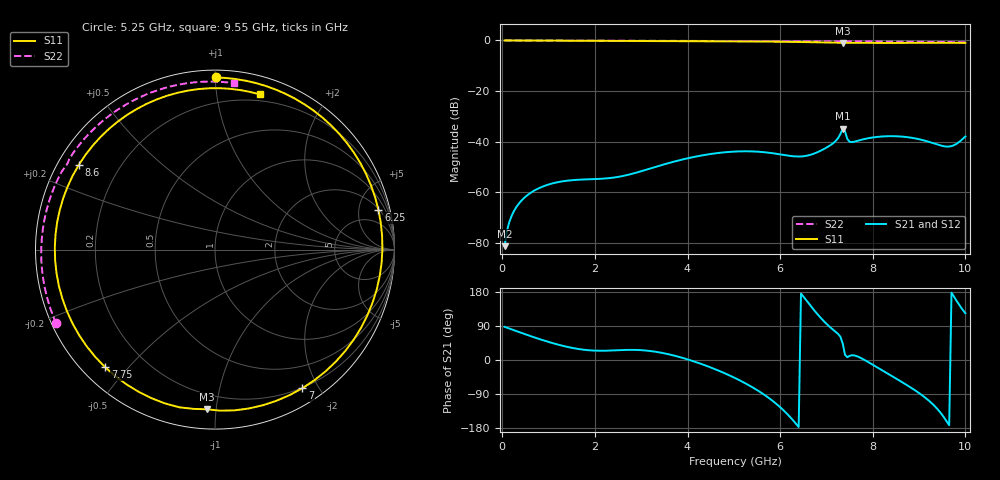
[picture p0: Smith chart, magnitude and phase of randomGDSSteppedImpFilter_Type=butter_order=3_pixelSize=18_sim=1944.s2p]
! freq	dB(S11)	phase(S11)	dB(S12)	phase(S12)
!  dB(S21)	phase(S21)	dB(S22)	phase(S22)
!S-par simulation data
#  GHz  S  DB  R 50
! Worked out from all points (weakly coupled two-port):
!   200 points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, 50 MHz to 10 GHz, reference 50 ohm
!   highest |S21| = -34.94 dB at 7.35 GHz (marker M1); lowest = -81.4 dB at 50 MHz (marker M2)
!   lowest |S11| = -1.0 dB at 7.35 GHz (marker M3), VSWR 17.30, Z = 5.48 - j47.1 ohm
!   |S11| at or under -10 dB: nowhere
!   |S22| runs from -0.7 to 0.0 dB; largest |S21 - S12| = 0
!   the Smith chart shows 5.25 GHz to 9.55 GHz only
!   S11 on the Smith chart (normalised r, x): 5.25 GHz: 0.04, +1.00; 6.25 GHz: 2.13, +7.76; 7 GHz: 0.19, -1.80; 7.75 GHz: 0.06, -0.43; 8.6 GHz: 0.06, +0.28; 9.55 GHz: 0.14, +1.32
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0.05  -0.01 -2.9  -81.38 87.5  -81.38 87.5  -0.00 -1.8
0.25  -0.02 -14.1  -67.55 78.6  -67.55 78.6  -0.01 -8.6
0.55  -0.03 -30.9  -61.09 65.6  -61.09 65.6  -0.02 -18.9
1.15  -0.08 -63.3  -56.25 42.4  -56.25 42.4  -0.05 -39.0
1.75  -0.11 -94.0  -55.00 27.2  -55.00 27.2  -0.07 -58.4
2.65  -0.16 -136.9  -53.44 26.5  -53.44 26.5  -0.10 -85.7
3.4  -0.19 -171.7  -49.52 19.9  -49.52 19.9  -0.13 -107.0
4.2  -0.25 149.6  -45.86 -6.3  -45.86 -6.3  -0.16 -128.3
5.05  -0.34 102.4  -43.93 -49.0  -43.93 -49.0  -0.21 -150.1
5.25  -0.36 89.7  -43.84 -61.6  -43.84 -61.6  -0.22 -155.1
5.75  -0.45 54.6  -44.40 -99.7  -44.40 -99.7  -0.25 -167.7
6.25  -0.56 13.7  -45.75 -155.2  -45.75 -155.2  -0.28 179.7
6.7  -0.70 -28.0  -44.97 136.4  -44.97 136.4  -0.32 168.1
7  -0.79 -57.7  -42.41 95.5  -42.41 95.5  -0.34 160.2
7.35  -1.01 -93.0  -34.94 44.1  -34.94 44.1  -0.42 150.7
7.5  -0.90 -107.9  -40.09 10.9  -40.09 10.9  -0.39 146.9
7.75  -0.95 -133.0  -39.30 4.8  -39.30 4.8  -0.41 139.8
8.35  -0.99 170.2  -37.87 -37.9  -37.87 -37.9  -0.46 122.3
8.6  -0.98 148.2  -38.00 -56.1  -38.00 -56.1  -0.49 114.6
9.05  -0.94 111.2  -39.29 -91.7  -39.29 -91.7  -0.54 100.3
9.55  -0.91 73.9  -41.91 -153.5  -41.91 -153.5  -0.60 83.4
10  -0.97 43.5  -37.96 123.3  -37.96 123.3  -0.69 67.4
